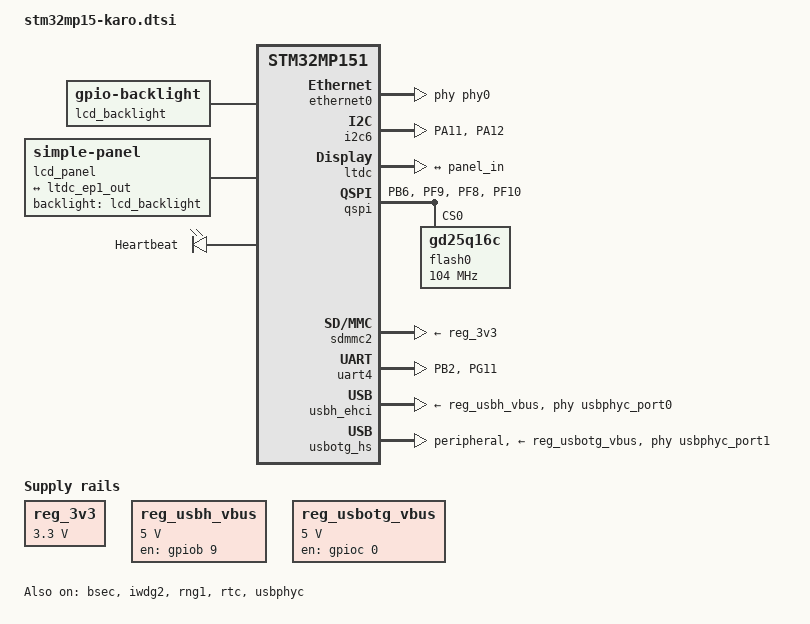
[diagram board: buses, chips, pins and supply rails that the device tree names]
// SPDX-License-Identifier: (GPL-2.0+ OR BSD-3-Clause)
/*
 * Copyright (C) 2020: Lothar Waßmann <LW@KARO-electronics.de>
 */

#include "stm32mp151.dtsi"
#include "stm32mp15-pinctrl.dtsi"
#include <dt-bindings/clock/stm32mp1-clksrc.h>
#include <dt-bindings/gpio/gpio.h>

/ {
	aliases {
		display = &lcd_panel;
		ethernet0 = &ethernet0;
		i2c0 = &i2c6;
		mmc0 = &sdmmc2;
		mmc1 = &sdmmc3;
		mmc2 = &sdmmc1;
		serial0 = &uart4;
		serial1 = &usart2;
		serial2 = &usart3;
		spinor0 = &flash0;
		usbh = &usbh_ehci;
		usbotg = &usbotg_hs;
	};

	chosen {
		stdout-path = "serial0:115200n8";
	};

	lcd_backlight: lcd-backlight {
		compatible = "gpio-backlight";
		default-on;
	};

	lcd_panel: panel {
		compatible = "simple-panel";
		pinctrl-names = "default", "sleep";
		pinctrl-0 = <&txmp_ltdc_pins>;
		pinctrl-1 = <&txmp_ltdc_pins_sleep>;
		backlight = <&lcd_backlight>;
		status = "okay";

		port {
			panel_in: endpoint {
				remote-endpoint = <&ltdc_ep1_out>;
			};
		};

		display-timings {
			native-mode = <&ETV570>;

			VGA {
				clock-frequency = <25200000>;
				hactive = <640>;
				vactive = <480>;
				hback-porch = <48>;
				hsync-len = <96>;
				hfront-porch = <16>;
				vback-porch = <31>;
				vsync-len = <2>;
				vfront-porch = <12>;
				hsync-active = <0>;
				vsync-active = <0>;
				de-active = <1>;
				pixelclk-active = <0>;
			};

			ETV570: ETV570 {
				u-boot,panel-name = "edt,et057090dhu";
				clock-frequency = <25200000>;
				hactive = <640>;
				vactive = <480>;
				hback-porch = <114>;
				hsync-len = <30>;
				hfront-porch = <16>;
				vback-porch = <32>;
				vsync-len = <3>;
				vfront-porch = <10>;
				hsync-active = <0>;
				vsync-active = <0>;
				de-active = <1>;
				pixelclk-active = <0>;
			};

			ET0350 {
				u-boot,panel-name = "edt,et0350g0dh6";
				clock-frequency = <6413760>;
				hactive = <320>;
				vactive = <240>;
				hback-porch = <34>;
				hsync-len = <34>;
				hfront-porch = <20>;
				vback-porch = <15>;
				vsync-len = <3>;
				vfront-porch = <4>;
				hsync-active = <0>;
				vsync-active = <0>;
				de-active = <1>;
				pixelclk-active = <0>;
			};

			ET0430 {
				u-boot,panel-name = "edt,et0430g0dh6";
				clock-frequency = <9009000>;
				hactive = <480>;
				vactive = <272>;
				hback-porch = <2>;
				hsync-len = <41>;
				hfront-porch = <2>;
				vback-porch = <2>;
				vsync-len = <10>;
				vfront-porch = <2>;
				hsync-active = <0>;
				vsync-active = <0>;
				de-active = <1>;
				pixelclk-active = <1>;
			};

			ET0500 {
				clock-frequency = <33264000>;
				hactive = <800>;
				vactive = <480>;
				hback-porch = <88>;
				hsync-len = <128>;
				hfront-porch = <40>;
				vback-porch = <33>;
				vsync-len = <2>;
				vfront-porch = <10>;
				hsync-active = <0>;
				vsync-active = <0>;
				de-active = <1>;
				pixelclk-active = <0>;
			};

			ET0700 { /* same as ET0500 */
				u-boot,panel-name = "edt,etm0700g0dh6";
				clock-frequency = <33264000>;
				hactive = <800>;
				vactive = <480>;
				hback-porch = <88>;
				hsync-len = <128>;
				hfront-porch = <40>;
				vback-porch = <33>;
				vsync-len = <2>;
				vfront-porch = <10>;
				hsync-active = <0>;
				vsync-active = <0>;
				de-active = <1>;
				pixelclk-active = <0>;
			};

			ETQ570 {
				clock-frequency = <6596040>;
				hactive = <320>;
				vactive = <240>;
				hback-porch = <38>;
				hsync-len = <30>;
				hfront-porch = <30>;
				vback-porch = <16>;
				vsync-len = <3>;
				vfront-porch = <4>;
				hsync-active = <0>;
				vsync-active = <0>;
				de-active = <1>;
				pixelclk-active = <0>;
			};
		};
	};

	leds {
		compatible = "gpio-leds";

		module_led: module-led {
			pinctrl-names = "default", "sleep";
			label = "Heartbeat";
			default-state = "on";
			linux,default-trigger = "heartbeat";
		};
	};

	reg_3v3: regulator-3v3 {
		compatible = "regulator-fixed";
		regulator-name = "3v3";
		regulator-min-microvolt = <3300000>;
		regulator-max-microvolt = <3300000>;
		regulator-always-on;
	};

	reg_usbh_vbus: regulator-usbh-vbus {
		compatible = "regulator-fixed";
		regulator-name = "USBH VBUS";
		regulator-min-microvolt = <5000000>;
		regulator-max-microvolt = <5000000>;
		enable-active-high;
		gpio = <&gpiob 9 GPIO_ACTIVE_HIGH>;
	};

	reg_usbotg_vbus: regulator-usbotg-vbus {
		compatible = "regulator-fixed";
		regulator-name = "USBOTG VBUS";
		regulator-min-microvolt = <5000000>;
		regulator-max-microvolt = <5000000>;
		enable-active-high;
		gpio = <&gpioc 0 GPIO_ACTIVE_HIGH>;
	};

	sram: sram@10050000 {
		compatible = "mmio-sram";
		reg = <0x10050000 0x10000>;
		#address-cells = <1>;
		#size-cells = <1>;
		ranges = <0 0x10050000 0x10000>;

		dma_pool: dma_pool@0 {
			reg = <0x0 0x10000>;
			pool;
		};
	};
};

&bsec {
	status = "okay";
};

&ethernet0 {
	pinctrl-names = "default", "sleep";
	phy-handle = <&phy0>;
	clock-names = "stmmaceth", "mac-clk-tx", "mac-clk-rx",
		      "ethstp", "syscfg-clk", "eth-ck";
	clocks = <&rcc ETHMAC &rcc ETHTX &rcc ETHRX
		  &rcc ETHSTP &rcc SYSCFG &rcc ETHCK_K>;
	status = "okay";

	mdio0: mdio0 {
		#address-cells = <1>;
		#size-cells = <0>;
		compatible = "snps,dwmac-mdio";
	};
};

&i2c6 {
	pinctrl-names = "default", "sleep";
	pinctrl-0 = <&i2c6_pins>;
	pinctrl-1 = <&i2c6_sleep_pins>;
	status = "okay";
};

&iwdg2 {
	timeout-sec = <0>;
	status = "okay";
};

&ltdc {
	status = "okay";

	port {
		ltdc_ep1_out: endpoint {
			remote-endpoint = <&panel_in>;
		};
	};
};

&pwr_regulators {
	pwr-supply = <&reg_3v3>;
};

&usb33 {
	usb33d-supply = <&reg18>;
};

&qspi {
	pinctrl-names = "default";
	pinctrl-0 = <&quadspi_pins>;
	reg = <0x58003000 0x1000>, <0x70000000 0x1000000>;
	status = "okay";

	flash0: spi-flash@0 {
		#address-cells = <1>;
		#size-cells = <1>;
		compatible = "gd25q16c", "spi-flash";
		reg = <0>;
		spi-rx-bus-width = <2>;
		spi-max-frequency = <104000000>;
		memory-map = <0x90000000 0x1000000>;
	};
};

&rng1 {
	status = "okay";
};

&rtc {
	status = "okay";
};

&sdmmc2 {
	vmmc-supply = <&reg_3v3>;
};

&uart4 {
	pinctrl-names = "default";
	pinctrl-0 = <&uart4_pins>;
	status = "okay";
};

&usbh_ehci {
	phy-names = "usb";
	phys = <&usbphyc_port0>;
	vbus-supply = <&reg_usbh_vbus>;
	status = "okay";
};

&usbotg_hs {
	dr_mode = "peripheral";
	phy-names = "usb2-phy";
	phys = <&usbphyc_port1 0>;
	vbus-supply = <&reg_usbotg_vbus>;
	u-boot,force-b-session-valid;
	hnp-srp-disable;
	status = "okay";
};

&usbphyc {
	status = "okay";
};

&usbphyc_port0 {
	phy-supply = <&reg_3v3>;
};

&usbphyc_port1 {
	phy-supply = <&reg_3v3>;
};

&pinctrl {
	ethernet0_rmii_pins: ethernet0-rmii-pins {
		pins1 {
			pinmux = <
				  STM32_PINMUX('G', 8, AF2)	/* ETH_CLK */
				  STM32_PINMUX('C', 1, AF11)	/* ETH_MDC */
				  STM32_PINMUX('A', 2, AF11)	/* ETH_MDIO */
				  STM32_PINMUX('B', 11, AF11)	/* ETH_RMII_TX_EN */
				  STM32_PINMUX('G', 13, AF11)	/* ETH_RMII_TXD0 */
				  STM32_PINMUX('G', 14, AF11)	/* ETH_RMII_TXD1 */
			>;
			bias-disable;
			drive-push-pull;
			slew-rate = <2>;
		};

		pins2 {
			pinmux = <
				  STM32_PINMUX('C', 4, AF11) /* ETH_RMII_RXD0 */
				  STM32_PINMUX('C', 5, AF11) /* ETH_RMII_RXD1 */
				  STM32_PINMUX('A', 7, AF11) /* ETH_RMII_CRS_DV */
			>;
			bias-disable;
		};
	};

	ethernet0_rmii_pins_sleep: rmii-pins-sleep {
		pins1 {
			pinmux = <
				  STM32_PINMUX('G', 8, ANALOG) /* ETH_CLK */
				  STM32_PINMUX('G', 13, ANALOG) /* ETH_RMII_TXD0 */
				  STM32_PINMUX('G', 14, ANALOG) /* ETH_RMII_TXD1 */
				  STM32_PINMUX('B', 11, ANALOG) /* ETH_RMII_TX_EN */
				  STM32_PINMUX('A', 2, ANALOG) /* ETH_MDIO */
				  STM32_PINMUX('C', 1, ANALOG) /* ETH_MDC */
				  STM32_PINMUX('C', 4, ANALOG) /* ETH_RMII_RXD0 */
				  STM32_PINMUX('C', 5, ANALOG) /* ETH_RMII_RXD1 */
				  STM32_PINMUX('A', 7, ANALOG) /* ETH_RMII_CRS_DV */
			>;
		};
	};

	i2c6_pins: i2c6-pins {
		pins {
			pinmux = <
				 STM32_PINMUX('A', 11, AF2) /* I2C6_SCL */
				 STM32_PINMUX('A', 12, AF2) /* I2C6_SDA */
			>;
			bias-disable;
			drive-open-drain;
			slew-rate = <0>;
		};
	};

	i2c6_sleep_pins: i2c6-sleep-pins {
		pins {
			pinmux = <
				  STM32_PINMUX('A', 11, ANALOG) /* I2C6_SCL */
				  STM32_PINMUX('A', 12, ANALOG) /* I2C6_SDA */
			>;
		};
	};

	quadspi_pins: quadspi-pins {
		pins1 {
			pinmux = <
				  STM32_PINMUX('B', 6, AF10)	/* QUADSPI_BK1_NCS */
				  STM32_PINMUX('F', 9, AF10)	/* QUADSPI_BK1_IO1 */
				  STM32_PINMUX('F', 8, AF10)	/* QUADSPI_BK1_IO0 */
			>;
			bias-disable;
			drive-push-pull;
			slew-rate = <1>;
		};

		pins2 {
			pinmux = <STM32_PINMUX('F', 10, AF9)>; /* QUADSPI_CLK */
			bias-disable;
			drive-push-pull;
			slew-rate = <2>;
		};
	};

	spi2_pins: spi2-pins {
		pins {
			pinmux = <
				  STM32_PINMUX('B', 12, AF5) /* SPI2_NSS */
				  STM32_PINMUX('C', 3, AF5) /* SPI2_MOSI */
				  STM32_PINMUX('C', 2, AF5) /* SPI2_MISO */
				  STM32_PINMUX('A', 9, AF5) /* SPI2_SCK */
			>;
			bias-disable;
			drive-push-pull;
			slew-rate = <1>;
		};
	};

	spi2_sleep_pins: spi2-sleep-pins {
		pins {
			pinmux = <
				  STM32_PINMUX('B', 12, ANALOG) /* SPI2_NSS */
				  STM32_PINMUX('C', 3, ANALOG) /* SPI2_MOSI */
				  STM32_PINMUX('C', 2, ANALOG) /* SPI2_MISO */
				  STM32_PINMUX('A', 9, ANALOG) /* SPI2_SCK */
			>;
		};
	};

	uart4_pins: uart4-pins {
		pins1 {
			pinmux = <STM32_PINMUX('B', 2, AF8)>; /* UART4_RX */
			bias-pull-up;
		};

		pins2 {
			pinmux = <STM32_PINMUX('G', 11, AF6)>; /* UART4_TX */
			bias-disable;
			drive-push-pull;
			slew-rate = <0>;
		};
	};
};
